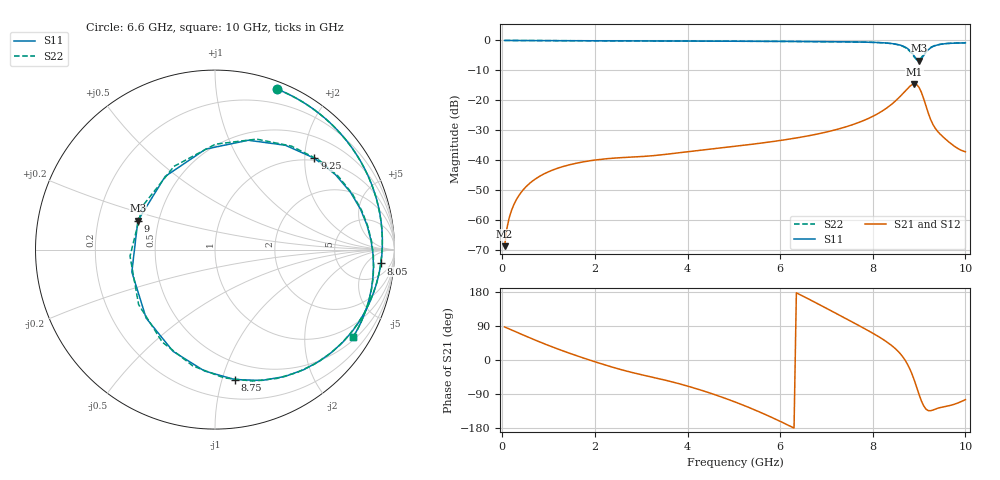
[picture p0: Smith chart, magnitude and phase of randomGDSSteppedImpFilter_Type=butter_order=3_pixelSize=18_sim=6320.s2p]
! freq	dB(S11)	phase(S11)	dB(S12)	phase(S12)
!  dB(S21)	phase(S21)	dB(S22)	phase(S22)
!S-par simulation data
#  GHz  S  DB  R 50
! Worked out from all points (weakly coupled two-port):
!   200 points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, 50 MHz to 10 GHz, reference 50 ohm
!   highest |S21| = -14.50 dB at 8.9 GHz (marker M1); lowest = -68.7 dB at 50 MHz (marker M2)
!   lowest |S11| = -6.8 dB at 9 GHz (marker M3), VSWR 2.70, Z = 19.1 + j7.78 ohm
!   |S11| at or under -10 dB: nowhere
!   |S22| runs from -6.5 to 0.0 dB; largest |S21 - S12| = 0
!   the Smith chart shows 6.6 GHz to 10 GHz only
!   S11 on the Smith chart (normalised r, x): 6.6 GHz: 0.07, +1.46; 8.05 GHz: 12, -13; 8.75 GHz: 0.35, -1.10; 9 GHz: 0.38, +0.16; 9.25 GHz: 0.95, +2.22; 10 GHz: 0.58, -3.35
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0.05  -0.00 -2.7  -68.68 87.2  -68.68 87.2  -0.00 -2.7
0.2  -0.02 -10.7  -56.69 79.3  -56.69 79.3  -0.02 -10.7
0.5  -0.03 -26.4  -49.03 63.4  -49.03 63.4  -0.03 -26.4
1.75  -0.11 -88.2  -40.53 5.3  -40.53 5.3  -0.11 -88.2
2.5  -0.14 -121.4  -39.19 -23.2  -39.19 -23.2  -0.14 -121.4
3.4  -0.17 -158.3  -38.24 -49.8  -38.24 -49.8  -0.17 -158.3
4.2  -0.21 169.9  -36.79 -76.1  -36.79 -76.1  -0.21 169.9
5.05  -0.26 135.8  -35.29 -111.9  -35.29 -111.9  -0.26 135.8
5.85  -0.31 102.2  -33.73 -153.3  -33.73 -153.3  -0.31 102.2
6.6  -0.37 68.9  -31.86 161.8  -31.86 161.8  -0.37 68.8
6.7  -0.37 64.3  -31.57 155.5  -31.57 155.5  -0.38 64.1
7.45  -0.47 28.3  -28.70 107.3  -28.70 107.3  -0.47 28.0
8.05  -0.66 -4.8  -24.94 67.2  -24.94 67.2  -0.67 -5.6
8.35  -0.93 -26.4  -22.01 43.6  -22.01 43.6  -0.96 -27.7
8.55  -1.39 -46.8  -19.33 22.5  -19.33 22.5  -1.46 -49.0
8.75  -2.71 -81.3  -16.07 -11.2  -16.07 -11.2  -2.89 -85.9
8.9  -5.34 -135.2  -14.50 -54.5  -14.50 -54.5  -5.61 -144.3
9  -6.77 159.5  -15.70 -91.2  -15.70 -91.2  -6.54 149.1
9.1  -5.00 95.3  -19.49 -121.2  -19.49 -121.2  -4.62 89.8
9.25  -2.47 42.6  -26.41 -133.8  -26.41 -133.8  -2.34 40.9
9.5  -1.20 3.3  -31.95 -124.3  -31.95 -124.3  -1.18 3.1
10  -0.81 -32.4  -37.16 -104.7  -37.16 -104.7  -0.81 -32.2
